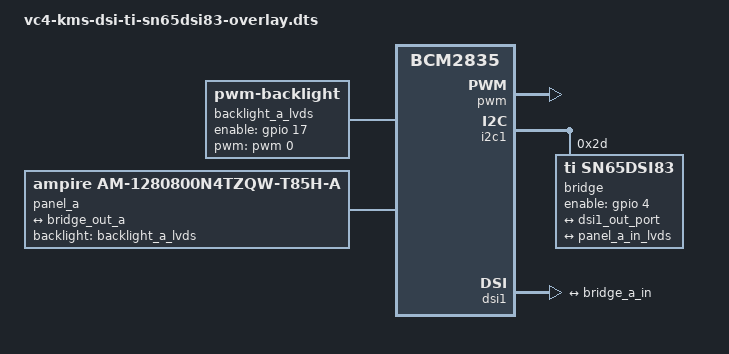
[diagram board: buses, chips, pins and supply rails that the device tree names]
/*
 * vc4-kms-dsi-sn65dsi8x-overlay.dts
 */

/dts-v1/;
/plugin/;
#include <dt-bindings/gpio/gpio.h>

/ {
	compatible = "brcm,bcm2835";

	/* PWM0 function */
	fragment@0 {
		target = <&gpio>;
		__overlay__ {
			pwm_pins: pwm_pins {
				brcm,pins = <12>;
				brcm,function = <4>; /* Alt1 */
			};
		};
	};

	fragment@1 {
		target = <&pwm>;
		frag1: __overlay__ {
			pinctrl-names = "default";
			pinctrl-0 = <&pwm_pins>;
			assigned-clock-rates = <100000000>;
			status = "okay";
		};
	};

	fragment@2 {
		target-path = "/";
		__overlay__ {
			//#gpio-cells = <2>;
			/* Panel backlight through PWM0 on GPIO 12 */
			backlight_a_lvds: backlight_a {
				compatible = "pwm-backlight";
				pwms = <&pwm 0 5000000>; /* Period of 5000000ns means 200Hz */
				brightness-levels = <0  1000>;
				num-interpolated-steps = <1000>;
				default-brightness-level = <800>;
				enable-gpios = <&gpio 17 0>; /* Backlight enable... */
			};

			panel_a: panel_a {
				compatible = "ampire,am-1280800n4tzqw-t85h-a", "panel-lvds";
				backlight = <&backlight_a_lvds>;

				/* Physical dimensions of active area */
				width-mm = <217>;
				height-mm = <136>;

				/* Data sheet shows VESA mapping (MSB in channel 3) */
				data-mapping = "vesa-24";

				panel-timing {
					clock-frequency = <71403480>;
					hactive = <1280>;
					vactive = <800>;
					hsync-len = <166>;
					/* If "0" does not work, set to something non-zero and reduce hsync-len accordingly */
					hfront-porch = <0>;
					hback-porch = <0>;
					/* If "0" does not work, set to something non-zero and reduce vsync-len accordingly */
					vfront-porch = <0>;
					vback-porch = <0>;
					vsync-len = <23>;
 				};

				port {
					panel_a_in_lvds: endpoint {
						remote-endpoint = <&bridge_out_a>;
					};
				};
			};
		};
	};

	fragment@3 {
		target = <&i2c1>;
		__overlay__ {
			#gpio-cells = <2>;
			#address-cells = <1>;
			#size-cells = <0>;
			status = "okay";

			bridge@2d {
				compatible = "ti,sn65dsi83";
				reg = <0x2d>;
				enable-gpios = <&gpio 4 GPIO_OPEN_DRAIN>;

				ports {
					#address-cells = <1>;
					#size-cells = <0>;

					port@0 {
						reg = <0>;
						bridge_a_in: endpoint {
							remote-endpoint = <&dsi1_out_port>;
							data-lanes = <0 1 2>;
						};
					};

					port@2 {
						reg = <2>;
						bridge_out_a: endpoint {
							remote-endpoint = <&panel_a_in_lvds>;
						};
					};
				};
			};
		};
	};

	fragment@4 {
		target = <&dsi1>;
		__overlay__ {
			#address-cells = <1>;
			#size-cells = <0>;
			status = "okay";
			port {
				dsi1_out_port: endpoint {
					remote-endpoint = <&bridge_a_in>;
					data-lanes = <0 1 2>;
				};
			};
		};
	};
};
